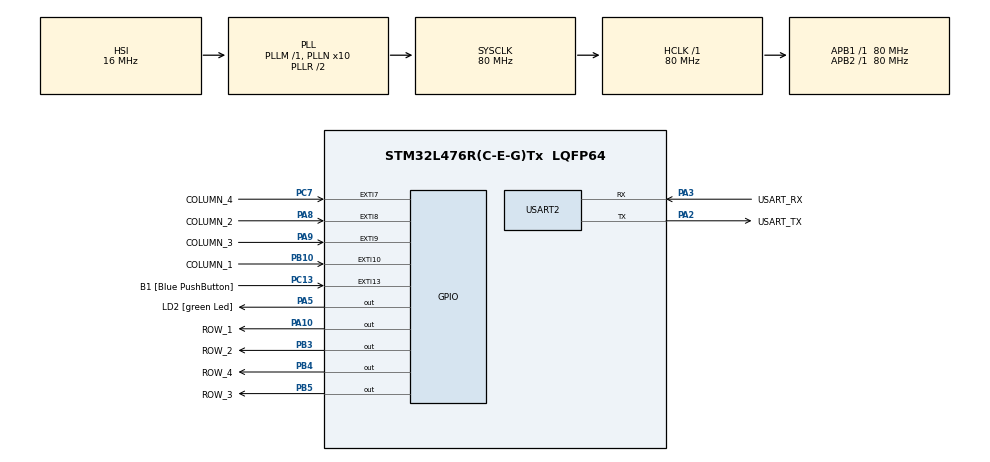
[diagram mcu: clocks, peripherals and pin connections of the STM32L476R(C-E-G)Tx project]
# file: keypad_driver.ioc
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Mcu.Family=STM32L4
Mcu.Name=STM32L476R(C-E-G)Tx
Mcu.Package=LQFP64
NVIC.EXTI15_10_IRQn=true\:0\:0\:false\:false\:true\:true\:true\:true
NVIC.EXTI9_5_IRQn=true\:0\:0\:false\:false\:true\:true\:true\:true
NVIC.PriorityGroup=NVIC_PRIORITYGROUP_4
NVIC.RCC_IRQn=true\:0\:0\:false\:false\:true\:true\:false\:true
NVIC.USART2_IRQn=true\:0\:0\:false\:false\:true\:true\:true\:true
PA10.GPIO_Label=ROW_1
PA10.GPIO_ModeDefaultOutputPP=GPIO_MODE_OUTPUT_OD
PA10.GPIO_PuPd=GPIO_NOPULL
PA10.GPIO_Speed=GPIO_SPEED_FREQ_VERY_HIGH
PA10.PinState=GPIO_PIN_RESET
PA10.Signal=GPIO_Output
PA13\ (JTMS-SWDIO).GPIO_Label=TMS
PA13\ (JTMS-SWDIO).Mode=Serial_Wire
PA13\ (JTMS-SWDIO).Signal=SYS_JTMS-SWDIO
PA14\ (JTCK-SWCLK).GPIO_Label=TCK
PA14\ (JTCK-SWCLK).Mode=Serial_Wire
PA14\ (JTCK-SWCLK).Signal=SYS_JTCK-SWCLK
PA2.GPIO_Label=USART_TX
PA2.GPIO_Mode=GPIO_MODE_AF_PP
PA2.GPIO_PuPd=GPIO_NOPULL
PA2.GPIO_Speed=GPIO_SPEED_FREQ_VERY_HIGH
PA2.Mode=Asynchronous
PA2.Signal=USART2_TX
PA3.GPIO_Label=USART_RX
PA3.GPIO_Mode=GPIO_MODE_AF_PP
PA3.GPIO_PuPd=GPIO_NOPULL
PA3.GPIO_Speed=GPIO_SPEED_FREQ_VERY_HIGH
PA3.Mode=Asynchronous
PA3.Signal=USART2_RX
PA5.GPIO_Label=LD2 [green Led]
PA5.GPIO_ModeDefaultOutputPP=GPIO_MODE_OUTPUT_PP
PA5.GPIO_PuPd=GPIO_NOPULL
PA5.GPIO_Speed=GPIO_SPEED_FREQ_LOW
PA5.Signal=GPIO_Output
PA8.GPIO_Label=COLUMN_2
PA8.GPIO_ModeDefaultEXTI=GPIO_MODE_IT_FALLING
PA8.GPIO_PuPd=GPIO_PULLUP
PA8.Signal=GPXTI8
PA9.GPIO_Label=COLUMN_3
PA9.GPIO_ModeDefaultEXTI=GPIO_MODE_IT_FALLING
PA9.GPIO_PuPd=GPIO_PULLUP
PA9.Signal=GPXTI9
PB10.GPIO_Label=COLUMN_1
PB10.GPIO_ModeDefaultEXTI=GPIO_MODE_IT_FALLING
PB10.GPIO_PuPd=GPIO_PULLUP
PB10.Signal=GPXTI10
PB3\ (JTDO-TRACESWO).GPIO_Label=ROW_2
PB3\ (JTDO-TRACESWO).GPIO_ModeDefaultOutputPP=GPIO_MODE_OUTPUT_OD
PB3\ (JTDO-TRACESWO).GPIO_PuPd=GPIO_NOPULL
PB3\ (JTDO-TRACESWO).GPIO_Speed=GPIO_SPEED_FREQ_VERY_HIGH
PB3\ (JTDO-TRACESWO).PinState=GPIO_PIN_RESET
PB3\ (JTDO-TRACESWO).Signal=GPIO_Output
PB4\ (NJTRST).GPIO_Label=ROW_4
PB4\ (NJTRST).GPIO_ModeDefaultOutputPP=GPIO_MODE_OUTPUT_OD
PB4\ (NJTRST).GPIO_PuPd=GPIO_NOPULL
PB4\ (NJTRST).GPIO_Speed=GPIO_SPEED_FREQ_VERY_HIGH
PB4\ (NJTRST).PinState=GPIO_PIN_RESET
PB4\ (NJTRST).Signal=GPIO_Output
PB5.GPIO_Label=ROW_3
PB5.GPIO_ModeDefaultOutputPP=GPIO_MODE_OUTPUT_OD
PB5.GPIO_PuPd=GPIO_NOPULL
PB5.GPIO_Speed=GPIO_SPEED_FREQ_VERY_HIGH
PB5.PinState=GPIO_PIN_RESET
PB5.Signal=GPIO_Output
PC13.GPIO_Label=B1 [Blue PushButton]
PC13.GPIO_ModeDefaultEXTI=GPIO_MODE_IT_FALLING
PC13.GPIO_PuPd=GPIO_NOPULL
PC13.Signal=GPXTI13
PC14-OSC32_IN\ (PC14).Mode=LSE-External-Oscillator
PC14-OSC32_IN\ (PC14).Signal=RCC_OSC32_IN
PC15-OSC32_OUT\ (PC15).Mode=LSE-External-Oscillator
PC15-OSC32_OUT\ (PC15).Signal=RCC_OSC32_OUT
PC7.GPIO_Label=COLUMN_4
PC7.GPIO_ModeDefaultEXTI=GPIO_MODE_IT_FALLING
PC7.GPIO_PuPd=GPIO_PULLUP
PC7.Signal=GPXTI7
PH0-OSC_IN\ (PH0).Signal=RCC_OSC_IN
PH1-OSC_OUT\ (PH1).Signal=RCC_OSC_OUT
ProjectManager.HeapSize=0x200
ProjectManager.StackSize=0x400
ProjectManager.TargetToolchain=CMake
RCC.ADCFreq_Value=64000000
RCC.AHBFreq_Value=80000000
RCC.APB1Freq_Value=80000000
RCC.APB1TimFreq_Value=80000000
RCC.APB2Freq_Value=80000000
RCC.APB2TimFreq_Value=80000000
RCC.CortexFreq_Value=80000000
RCC.HCLKFreq_Value=80000000
RCC.HSE_VALUE=8000000
RCC.HSI_VALUE=16000000
RCC.MSI_VALUE=4000000
RCC.PLLN=10
RCC.PLLSourceVirtual=RCC_PLLSOURCE_HSI
RCC.PREFETCH_ENABLE=1
RCC.SYSCLKFreq_VALUE=80000000
RCC.SYSCLKSource=RCC_SYSCLKSOURCE_PLLCLK
RCC.USBFreq_Value=64000000
RCC.VCOOutputFreq_Value=160000000
USART2.VirtualMode-Asynchronous=VM_ASYNC
board=NUCLEO-L476RG

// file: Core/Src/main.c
/* USER CODE BEGIN Header */
/**
  ******************************************************************************
  * @file           : main.c
  * @brief          : Main program body
  ******************************************************************************
  * @attention
  *
  * Copyright (c) 2025 STMicroelectronics.
  * All rights reserved.
  *
  * This software is licensed under terms that can be found in the LICENSE file
  * in the root directory of this software component.
  * If no LICENSE file comes with this software, it is provided AS-IS.
  *
  ******************************************************************************
  */
/* USER CODE END Header */
#include "main.h"
#include "keypad.h"

UART_HandleTypeDef huart2;

void SystemClock_Config(void);
static void MX_GPIO_Init(void);
static void MX_USART2_UART_Init(void);

/* USER CODE BEGIN 0 */
uint32_t key_pressed_tick = 0;
uint16_t column_pressed = 0;

uint32_t debounce_tick = 0;
void HAL_GPIO_EXTI_Callback(uint16_t GPIO_Pin)
{
  if ((debounce_tick + 200) > HAL_GetTick()) {
    return;
  }
  debounce_tick = HAL_GetTick();
  key_pressed_tick = HAL_GetTick();
  column_pressed = GPIO_Pin;
}
/* USER CODE END 0 */

int main(void)
{

  /* MCU Configuration--------------------------------------------------------*/

  /* Reset of all peripherals, Initializes the Flash interface and the Systick. */
  HAL_Init();

  /* Configure the system clock */
  SystemClock_Config();

  /* Initialize all configured peripherals */
  MX_GPIO_Init();
  MX_USART2_UART_Init();
  /* USER CODE BEGIN 2 */
  keypad_init();
  HAL_UART_Transmit(&huart2, (uint8_t *)"Hello, World\r\n", 14, 1000);
  /* USER CODE END 2 */

  /* Infinite loop */
  /* USER CODE BEGIN WHILE */
  while (1)
  {
    if (column_pressed != 0 && (key_pressed_tick + 5) < HAL_GetTick() ) {
      uint8_t key = keypad_scan(column_pressed);
      HAL_UART_Transmit(&huart2, &key, 1, 100);
      column_pressed = 0;
    }
    /* USER CODE END WHILE */

  }
}

void SystemClock_Config(void)
{
  RCC_OscInitTypeDef RCC_OscInitStruct = {0};
  RCC_ClkInitTypeDef RCC_ClkInitStruct = {0};

  /** Configure the main internal regulator output voltage
  */
  if (HAL_PWREx_ControlVoltageScaling(PWR_REGULATOR_VOLTAGE_SCALE1) != HAL_OK)
  {
    Error_Handler();
  }

  /** Initializes the RCC Oscillators according to the specified parameters
  * in the RCC_OscInitTypeDef structure.
  */
  RCC_OscInitStruct.OscillatorType = RCC_OSCILLATORTYPE_HSI;
  RCC_OscInitStruct.HSIState = RCC_HSI_ON;
  RCC_OscInitStruct.HSICalibrationValue = RCC_HSICALIBRATION_DEFAULT;
  RCC_OscInitStruct.PLL.PLLState = RCC_PLL_ON;
  RCC_OscInitStruct.PLL.PLLSource = RCC_PLLSOURCE_HSI;
  RCC_OscInitStruct.PLL.PLLM = 1;
  RCC_OscInitStruct.PLL.PLLN = 10;
  RCC_OscInitStruct.PLL.PLLP = RCC_PLLP_DIV7;
  RCC_OscInitStruct.PLL.PLLQ = RCC_PLLQ_DIV2;
  RCC_OscInitStruct.PLL.PLLR = RCC_PLLR_DIV2;
  if (HAL_RCC_OscConfig(&RCC_OscInitStruct) != HAL_OK)
  {
    Error_Handler();
  }

  /** Initializes the CPU, AHB and APB buses clocks
  */
  RCC_ClkInitStruct.ClockType = RCC_CLOCKTYPE_HCLK|RCC_CLOCKTYPE_SYSCLK
                              |RCC_CLOCKTYPE_PCLK1|RCC_CLOCKTYPE_PCLK2;
  RCC_ClkInitStruct.SYSCLKSource = RCC_SYSCLKSOURCE_PLLCLK;
  RCC_ClkInitStruct.AHBCLKDivider = RCC_SYSCLK_DIV1;
  RCC_ClkInitStruct.APB1CLKDivider = RCC_HCLK_DIV1;
  RCC_ClkInitStruct.APB2CLKDivider = RCC_HCLK_DIV1;

  if (HAL_RCC_ClockConfig(&RCC_ClkInitStruct, FLASH_LATENCY_4) != HAL_OK)
  {
    Error_Handler();
  }
}

static void MX_USART2_UART_Init(void)
{

  huart2.Instance = USART2;
  huart2.Init.BaudRate = 115200;
  huart2.Init.WordLength = UART_WORDLENGTH_8B;
  huart2.Init.StopBits = UART_STOPBITS_1;
  huart2.Init.Parity = UART_PARITY_NONE;
  huart2.Init.Mode = UART_MODE_TX_RX;
  huart2.Init.HwFlowCtl = UART_HWCONTROL_NONE;
  huart2.Init.OverSampling = UART_OVERSAMPLING_16;
  huart2.Init.OneBitSampling = UART_ONE_BIT_SAMPLE_DISABLE;
  huart2.AdvancedInit.AdvFeatureInit = UART_ADVFEATURE_NO_INIT;
  if (HAL_UART_Init(&huart2) != HAL_OK)
  {
    Error_Handler();
  }

}

static void MX_GPIO_Init(void)
{
  GPIO_InitTypeDef GPIO_InitStruct = {0};

  /* GPIO Ports Clock Enable */
  __HAL_RCC_GPIOC_CLK_ENABLE();
  __HAL_RCC_GPIOH_CLK_ENABLE();
  __HAL_RCC_GPIOA_CLK_ENABLE();
  __HAL_RCC_GPIOB_CLK_ENABLE();

  /*Configure GPIO pin Output Level */
  HAL_GPIO_WritePin(GPIOA, LD2_Pin|ROW_1_Pin, GPIO_PIN_RESET);

  /*Configure GPIO pin Output Level */
  HAL_GPIO_WritePin(GPIOB, ROW_2_Pin|ROW_4_Pin|ROW_3_Pin, GPIO_PIN_RESET);

  /*Configure GPIO pin : B1_Pin */
  GPIO_InitStruct.Pin = B1_Pin;
  GPIO_InitStruct.Mode = GPIO_MODE_IT_FALLING;
  GPIO_InitStruct.Pull = GPIO_NOPULL;
  HAL_GPIO_Init(B1_GPIO_Port, &GPIO_InitStruct);

  /*Configure GPIO pin : LD2_Pin */
  GPIO_InitStruct.Pin = LD2_Pin;
  GPIO_InitStruct.Mode = GPIO_MODE_OUTPUT_PP;
  GPIO_InitStruct.Pull = GPIO_NOPULL;
  GPIO_InitStruct.Speed = GPIO_SPEED_FREQ_LOW;
  HAL_GPIO_Init(LD2_GPIO_Port, &GPIO_InitStruct);

  /*Configure GPIO pin : COLUMN_1_Pin */
  GPIO_InitStruct.Pin = COLUMN_1_Pin;
  GPIO_InitStruct.Mode = GPIO_MODE_IT_FALLING;
  GPIO_InitStruct.Pull = GPIO_PULLUP;
  HAL_GPIO_Init(COLUMN_1_GPIO_Port, &GPIO_InitStruct);

  /*Configure GPIO pin : COLUMN_4_Pin */
  GPIO_InitStruct.Pin = COLUMN_4_Pin;
  GPIO_InitStruct.Mode = GPIO_MODE_IT_FALLING;
  GPIO_InitStruct.Pull = GPIO_PULLUP;
  HAL_GPIO_Init(COLUMN_4_GPIO_Port, &GPIO_InitStruct);

  /*Configure GPIO pins : COLUMN_2_Pin COLUMN_3_Pin */
  GPIO_InitStruct.Pin = COLUMN_2_Pin|COLUMN_3_Pin;
  GPIO_InitStruct.Mode = GPIO_MODE_IT_FALLING;
  GPIO_InitStruct.Pull = GPIO_PULLUP;
  HAL_GPIO_Init(GPIOA, &GPIO_InitStruct);

  /*Configure GPIO pin : ROW_1_Pin */
  GPIO_InitStruct.Pin = ROW_1_Pin;
  GPIO_InitStruct.Mode = GPIO_MODE_OUTPUT_OD;
  GPIO_InitStruct.Pull = GPIO_NOPULL;
  GPIO_InitStruct.Speed = GPIO_SPEED_FREQ_VERY_HIGH;
  HAL_GPIO_Init(ROW_1_GPIO_Port, &GPIO_InitStruct);

  /*Configure GPIO pins : ROW_2_Pin ROW_4_Pin ROW_3_Pin */
  GPIO_InitStruct.Pin = ROW_2_Pin|ROW_4_Pin|ROW_3_Pin;
  GPIO_InitStruct.Mode = GPIO_MODE_OUTPUT_OD;
  GPIO_InitStruct.Pull = GPIO_NOPULL;
  GPIO_InitStruct.Speed = GPIO_SPEED_FREQ_VERY_HIGH;
  HAL_GPIO_Init(GPIOB, &GPIO_InitStruct);

  /* EXTI interrupt init*/
  HAL_NVIC_SetPriority(EXTI9_5_IRQn, 0, 0);
  HAL_NVIC_EnableIRQ(EXTI9_5_IRQn);

  HAL_NVIC_SetPriority(EXTI15_10_IRQn, 0, 0);
  HAL_NVIC_EnableIRQ(EXTI15_10_IRQn);

}

void Error_Handler(void)
{
  __disable_irq();
  while (1)
  {
  }
}
